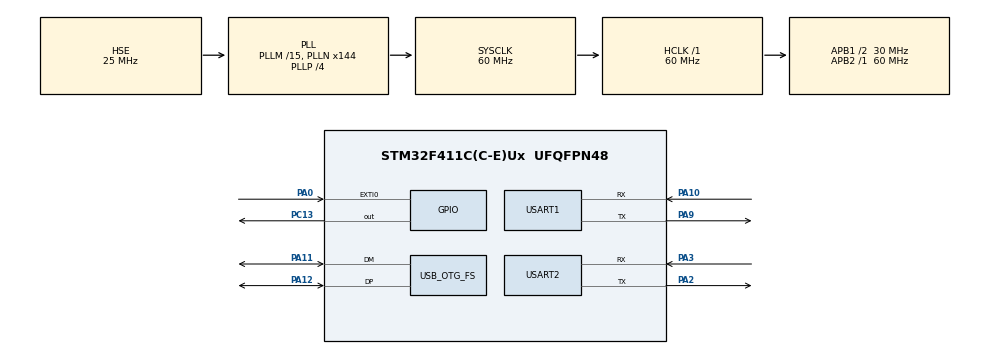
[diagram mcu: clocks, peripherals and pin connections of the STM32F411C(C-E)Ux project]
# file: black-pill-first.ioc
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FREERTOS.Tasks01=defaultTask,24,128,StartDefaultTask,Default,NULL,Dynamic,NULL,NULL
Mcu.Family=STM32F4
Mcu.Name=STM32F411C(C-E)Ux
Mcu.Package=UFQFPN48
NVIC.EXTI0_IRQn=true\:5\:0\:false\:false\:true\:true\:true\:true\:true
NVIC.OTG_FS_IRQn=true\:5\:0\:false\:false\:true\:true\:false\:true\:true
NVIC.PriorityGroup=NVIC_PRIORITYGROUP_4
NVIC.TIM1_UP_TIM10_IRQn=true\:15\:0\:false\:false\:true\:false\:false\:true\:true
NVIC.TimeBase=TIM1_UP_TIM10_IRQn
NVIC.TimeBaseIP=TIM1
PA0-WKUP.GPIO_ModeDefaultEXTI=GPIO_MODE_IT_RISING_FALLING
PA0-WKUP.GPIO_PuPd=GPIO_PULLUP
PA0-WKUP.Signal=GPXTI0
PA10.Mode=Asynchronous
PA10.Signal=USART1_RX
PA11.Mode=Device_Only
PA11.Signal=USB_OTG_FS_DM
PA12.Mode=Device_Only
PA12.Signal=USB_OTG_FS_DP
PA13.Mode=Serial_Wire
PA13.Signal=SYS_JTMS-SWDIO
PA14.Mode=Serial_Wire
PA14.Signal=SYS_JTCK-SWCLK
PA2.Mode=Asynchronous
PA2.Signal=USART2_TX
PA3.Mode=Asynchronous
PA3.Signal=USART2_RX
PA9.Mode=Asynchronous
PA9.Signal=USART1_TX
PC13-ANTI_TAMP.Signal=GPIO_Output
PH0\ -\ OSC_IN.Mode=HSE-External-Oscillator
PH0\ -\ OSC_IN.Signal=RCC_OSC_IN
PH1\ -\ OSC_OUT.Mode=HSE-External-Oscillator
PH1\ -\ OSC_OUT.Signal=RCC_OSC_OUT
ProjectManager.HeapSize=0x200
ProjectManager.StackSize=0x400
ProjectManager.TargetToolchain=CMake
RCC.48MHZClocksFreq_Value=48000000
RCC.AHBFreq_Value=60000000
RCC.APB1CLKDivider=RCC_HCLK_DIV2
RCC.APB1Freq_Value=30000000
RCC.APB1TimFreq_Value=60000000
RCC.APB2Freq_Value=60000000
RCC.APB2TimFreq_Value=60000000
RCC.CortexFreq_Value=60000000
RCC.HCLKFreq_Value=60000000
RCC.HSE_VALUE=25000000
RCC.HSI_VALUE=16000000
RCC.LSE_VALUE=32768
RCC.PLLM=15
RCC.PLLN=144
RCC.PLLP=RCC_PLLP_DIV4
RCC.PLLQ=5
RCC.SYSCLKFreq_VALUE=60000000
RCC.SYSCLKSource=RCC_SYSCLKSOURCE_PLLCLK
RCC.VCOOutputFreq_Value=240000000
USART1.VirtualMode=VM_ASYNC
USART2.VirtualMode=VM_ASYNC
USB_DEVICE.CLASS_NAME_FS=CDC
USB_DEVICE.VirtualMode=Cdc
USB_DEVICE.VirtualModeFS=Cdc_FS
USB_OTG_FS.VirtualMode=Device_Only
VP_FREERTOS_VS_CMSIS_V2.Mode=CMSIS_V2
VP_SYS_VS_tim1.Mode=TIM1
VP_USB_DEVICE_VS_USB_DEVICE_CDC_FS.Mode=CDC_FS
board=custom

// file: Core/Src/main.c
/* USER CODE BEGIN Header */
/**
  ******************************************************************************
  * @file           : main.c
  * @brief          : Main program body
  ******************************************************************************
  * @attention
  *
  * Copyright (c) 2026 STMicroelectronics.
  * All rights reserved.
  *
  * This software is licensed under terms that can be found in the LICENSE file
  * in the root directory of this software component.
  * If no LICENSE file comes with this software, it is provided AS-IS.
  *
  ******************************************************************************
  */
/* USER CODE END Header */
#include "main.h"
#include "cmsis_os.h"
#include "usart.h"
#include "usb_device.h"
#include "gpio.h"

/* USER CODE BEGIN Includes */
#include "app.h"
#include "usbd_cdc_if.h"
#include <string.h>
#include <stdio.h>
/* USER CODE END Includes */

void SystemClock_Config(void);
void MX_FREERTOS_Init(void);

/* USER CODE BEGIN 0 */

int _write(int file, char *ptr, int len) {
    CDC_Transmit_FS((uint8_t*)ptr, len);
    return len;
}

/* USER CODE END 0 */

int main(void)
{

  /* MCU Configuration--------------------------------------------------------*/

  /* Reset of all peripherals, Initializes the Flash interface and the Systick. */
      HAL_Init();

  /* Configure the system clock */
  SystemClock_Config();

  /* Initialize all configured peripherals */
  MX_GPIO_Init();
  MX_USART1_UART_Init();
  MX_USART2_UART_Init();
  /* USER CODE BEGIN 2 */
  app_start(); // <--- Додайте виклики вашого коду сюди
  /* USER CODE END 2 */

  /* Init scheduler */
  osKernelInitialize();  /* Call init function for freertos objects (in cmsis_os2.c) */
  MX_FREERTOS_Init();

  /* Start scheduler */
  osKernelStart();

  /* We should never get here as control is now taken by the scheduler */

  /* Infinite loop */
  /* USER CODE BEGIN WHILE */

  char msg[64];
  uint16_t count = 0;

  while (1)
  {
    /* USER CODE END WHILE */

    /* USER CODE BEGIN 3 */
    int len = sprintf(msg, "Hello from STM32 USB CDC! Count: %d\r\n", count++);
    //CDC_Transmit_FS((uint8_t*)msg, len);

    while(CDC_Transmit_FS((uint8_t*)msg, len) == USBD_BUSY) {
      vTaskDelay(1); // Або інша затримка, щоб не блокувати систему
    }

    HAL_Delay(1000); // Затримка 1 секунда

  }
  /* USER CODE END 3 */
}

void SystemClock_Config(void)
{
  RCC_OscInitTypeDef RCC_OscInitStruct = {0};
  RCC_ClkInitTypeDef RCC_ClkInitStruct = {0};

  /** Configure the main internal regulator output voltage
  */
  __HAL_RCC_PWR_CLK_ENABLE();
  __HAL_PWR_VOLTAGESCALING_CONFIG(PWR_REGULATOR_VOLTAGE_SCALE1);

  /** Initializes the RCC Oscillators according to the specified parameters
  * in the RCC_OscInitTypeDef structure.
  */
  RCC_OscInitStruct.OscillatorType = RCC_OSCILLATORTYPE_HSE;
  RCC_OscInitStruct.HSEState = RCC_HSE_ON;
  RCC_OscInitStruct.PLL.PLLState = RCC_PLL_ON;
  RCC_OscInitStruct.PLL.PLLSource = RCC_PLLSOURCE_HSE;
  RCC_OscInitStruct.PLL.PLLM = 15;
  RCC_OscInitStruct.PLL.PLLN = 144;
  RCC_OscInitStruct.PLL.PLLP = RCC_PLLP_DIV4;
  RCC_OscInitStruct.PLL.PLLQ = 5;
  if (HAL_RCC_OscConfig(&RCC_OscInitStruct) != HAL_OK)
  {
    Error_Handler();
  }

  /** Initializes the CPU, AHB and APB buses clocks
  */
  RCC_ClkInitStruct.ClockType = RCC_CLOCKTYPE_HCLK|RCC_CLOCKTYPE_SYSCLK
                              |RCC_CLOCKTYPE_PCLK1|RCC_CLOCKTYPE_PCLK2;
  RCC_ClkInitStruct.SYSCLKSource = RCC_SYSCLKSOURCE_PLLCLK;
  RCC_ClkInitStruct.AHBCLKDivider = RCC_SYSCLK_DIV1;
  RCC_ClkInitStruct.APB1CLKDivider = RCC_HCLK_DIV2;
  RCC_ClkInitStruct.APB2CLKDivider = RCC_HCLK_DIV1;

  if (HAL_RCC_ClockConfig(&RCC_ClkInitStruct, FLASH_LATENCY_1) != HAL_OK)
  {
    Error_Handler();
  }
}

void HAL_TIM_PeriodElapsedCallback(TIM_HandleTypeDef *htim)
{
  if (htim->Instance == TIM1)
  {
    HAL_IncTick();
  }
}

void Error_Handler(void)
{
  __disable_irq();
  while (1)
  {
  }
}

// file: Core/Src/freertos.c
/* USER CODE BEGIN Header */
/**
  ******************************************************************************
  * File Name          : freertos.c
  * Description        : Code for freertos applications
  ******************************************************************************
  * @attention
  *
  * Copyright (c) 2026 STMicroelectronics.
  * All rights reserved.
  *
  * This software is licensed under terms that can be found in the LICENSE file
  * in the root directory of this software component.
  * If no LICENSE file comes with this software, it is provided AS-IS.
  *
  ******************************************************************************
  */
/* USER CODE END Header */

#include "FreeRTOS.h"
#include "task.h"
#include "main.h"
#include "cmsis_os.h"

/* USER CODE BEGIN Includes */
#include "uart_link.h"
#include "semphr.h"

/* USER CODE END Includes */

/* USER CODE BEGIN Variables */
struct Data currentData;
SemaphoreHandle_t uartMtx;

// включаємо чи виключаємо відправку
volatile bool txEnabled = true;
#define FLASH_USER_START_ADDR  0x08060000

/* USER CODE END Variables */
/* Definitions for defaultTask */
osThreadId_t defaultTaskHandle;
const osThreadAttr_t defaultTask_attributes = {
  .name = "defaultTask",
  .stack_size = 128 * 4,
  .priority = (osPriority_t) osPriorityNormal,
};

/* USER CODE BEGIN FunctionPrototypes */
void LoadConfigFromFlash(struct Data *config);
void SaveConfigToFlash(const struct Data *config);
/* USER CODE END FunctionPrototypes */

void StartDefaultTask(void *argument);

extern void MX_USB_DEVICE_Init(void);
void MX_FREERTOS_Init(void); /* (MISRA C 2004 rule 8.1) */

void MX_FREERTOS_Init(void) {

  /* Create the thread(s) */
  /* creation of defaultTask */
  defaultTaskHandle = osThreadNew(StartDefaultTask, NULL, &defaultTask_attributes);

}

void StartDefaultTask(void *argument)
{
  /* init code for USB_DEVICE */
  MX_USB_DEVICE_Init();
  /* USER CODE BEGIN StartDefaultTask */

  // Читаємо конфігурацію з Flash при стартові
  LoadConfigFromFlash(&currentData);

  // Якщо сектор порожній (новий) — записуємо дефолтні значення
  if ((uint8_t)currentData.name[0] == 0xFF || currentData.name[0] == '\0') {
      strcpy(currentData.name, "Default_STM");
      currentData.val = 42;
      strcpy(currentData.mode, "auto");

      SaveConfigToFlash(&currentData);
  }

  /* Infinite loop */
  for(;;)
  {
    osDelay(1);
  }
  /* USER CODE END StartDefaultTask */
}

/* USER CODE BEGIN Application */

// void commsTask(void*) {
//     Sample s;
//     char line[48];
//     for (;;) {
//         xQueueReceive(q, &s, portMAX_DELAY);
//         if (!txEnabled) continue;
//         const int32_t mv = int32_t(s.raw) * 125 / 1000;
//         const int n = snprintf(line, sizeof line,
//                             "t=%lu ms  raw=%d  U=%ld mV\r\n",
//                             (unsigned long)s.t_ms, s.raw, (long)mv);
//         uartSend(line, n);
//     }
// }

void buttonTask(void*) {
    TickType_t last = 0;
    for (;;) {
        ulTaskNotifyTake(pdTRUE, portMAX_DELAY);
        const TickType_t now = xTaskGetTickCount();
        if (now - last < pdMS_TO_TICKS(200)) continue;
        last = now;
        txEnabled = !txEnabled;
        const char* msg = txEnabled ? "tx: ON\r\n" : "tx: OFF\r\n";
        HAL_GPIO_TogglePin(GPIOC, GPIO_PIN_13);

        // Виводимо статус через printf (який піде в USB CDC)
        if (txEnabled) {
            printf("tx: ON\r\n");
        } else {
            printf("tx: OFF\r\n");
        }

        sendAnswer(msg);
    }
}

void heartbeatTask(void* pvParameters) {
    TickType_t wake = xTaskGetTickCount();
    uint32_t n = 0;
    char line[40];

    for (;;) {
        vTaskDelayUntil(&wake, pdMS_TO_TICKS(1000));

        snprintf(line, sizeof(line), "hb #%lu t=%lu ms",
                 (unsigned long)++n,
                 (unsigned long)(xTaskGetTickCount() * portTICK_PERIOD_MS));

        // Відправляємо через запакований протокол
        sendAnswer(line);
    }
}

void uartSend(const uint8_t* data, size_t len) {
    if (xSemaphoreTake(uartMtx, pdMS_TO_TICKS(100)) == pdTRUE) {
        HAL_UART_Transmit(&huart1, (uint8_t*)data, len, 100);
        xSemaphoreGive(uartMtx);
    }
}

void espUartSend(const uint8_t* data, size_t len) {
    if (xSemaphoreTake(uartMtx, pdMS_TO_TICKS(100)) == pdTRUE) {
        HAL_UART_Transmit(&huart2, (uint8_t*)data, len, 100);
        xSemaphoreGive(uartMtx);
    }
}

void uartReceiveTask(void* pvParameters)
{
    uart_parser_t parser;
    parser_init(&parser);

    uint8_t byte;
    uint8_t outType;
    uint8_t outPayload[260];
    uint8_t outLen;

    while (1) {
        // Читаємо 1 байт. Таймаут 10 мс дозволяє FreeRTOS перемикати контекст.
        if (HAL_UART_Receive(&huart2, &byte, 1, 10) == HAL_OK) {
            if (parser_feed(&parser, byte, &outType, outPayload, &outLen)) {
                if (outType == PKT_DATA && outLen == sizeof(struct Data)) {
                    // get packet from esp32 by uart and save it in currentData
                    memcpy(&currentData, outPayload, sizeof(struct Data));

                    const char* msg = "SAVE PKT_DATA!\r\n";
                    printf("%s", msg); // Переконайтеся, що printf перевизначено через _write

                    // Відправляємо через запакований протокол
                    //sendAnswer(msg);

                    // save currentData to flash
                    SaveConfigToFlash(&currentData);

                    // --- Блимаємо діодом на пів секунди (500 мс) ---
                    HAL_GPIO_WritePin(GPIOC, GPIO_PIN_13, GPIO_PIN_SET); // Вимкнути на пів секунди
                    HAL_Delay(500);
                    HAL_GPIO_WritePin(GPIOC, GPIO_PIN_13, GPIO_PIN_RESET); // Увімкнути назад
                } else if (outType == PKT_GET_DATA) {
                    printf("GET PKT_GET_DATA requested by ESP32\n");
                    sendPacketToESP32(&currentData);
                }
                else {
                    printf("NO NAME! outType: %d\n", outType);
                }
            }
        } else {
            // Якщо байтів у буфері немає, віддаємо ресурс іншим таскам
            vTaskDelay(pdMS_TO_TICKS(1));
        }
    }
}

void SaveConfigToFlash(const struct Data *config) {
    HAL_FLASH_Unlock();

    // Очищуємо сектор перед записом
    FLASH_EraseInitTypeDef EraseInitStruct;
    uint32_t SectorError = 0;

    EraseInitStruct.TypeErase   = FLASH_TYPEERASE_SECTORS;
    EraseInitStruct.VoltageRange = FLASH_VOLTAGE_RANGE_3;
    EraseInitStruct.Sector      = FLASH_SECTOR_7;
    EraseInitStruct.NbSectors   = 1;

    if (HAL_FLASHEx_Erase(&EraseInitStruct, &SectorError) != HAL_OK) {
        printf("Помилки стирання 7 сектора із даними");
        HAL_FLASH_Lock();
        return;
    }

    // Записуємо структуру по 32-біта
    uint32_t address = FLASH_USER_START_ADDR;
    uint32_t *data_ptr = (uint32_t*)config;
    // Вирівнюємо по 32 біта (4 байти)
    size_t size_in_words = (sizeof(struct Data) + 3) / 4;

    for (size_t i = 0; i < size_in_words; i++) {
        if (HAL_FLASH_Program(FLASH_TYPEPROGRAM_WORD, address, data_ptr[i]) == HAL_OK) {
            address += 4;
        } else {
            printf("Помилки запису в 7 сектор");
            break;
        }
    }

    HAL_FLASH_Lock();
}

// Функція для читання структури з Flash
void LoadConfigFromFlash(struct Data *config) {
    memcpy(config, (void*)FLASH_USER_START_ADDR, sizeof(struct Data));
}

/* USER CODE END Application */
